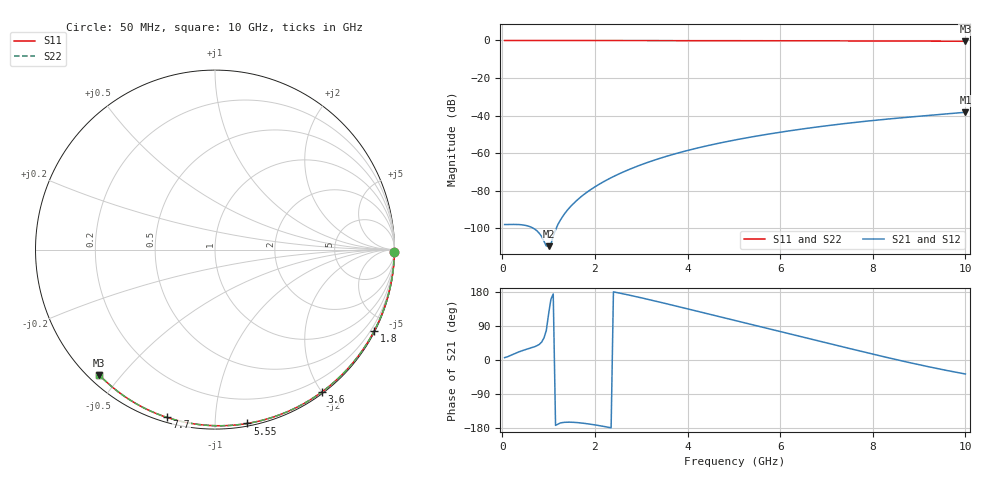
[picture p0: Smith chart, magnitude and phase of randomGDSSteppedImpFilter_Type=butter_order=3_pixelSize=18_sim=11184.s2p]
! freq	dB(S11)	phase(S11)	dB(S12)	phase(S12)
!  dB(S21)	phase(S21)	dB(S22)	phase(S22)
!S-par simulation data
#  GHz  S  DB  R 50
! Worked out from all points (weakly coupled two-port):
!   200 points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, 50 MHz to 10 GHz, reference 50 ohm
!   highest |S21| = -38.28 dB at 10 GHz (marker M1); lowest = -109.6 dB at 1 GHz (marker M2)
!   lowest |S11| = -0.4 dB at 10 GHz (marker M3), VSWR 39.56, Z = 1.51 - j21.9 ohm
!   |S11| at or under -10 dB: nowhere
!   |S22| runs from -0.4 to 0.0 dB; largest |S21 - S12| = 0
!   S11 on the Smith chart (normalised r, x): 50 MHz: open; 1.8 GHz: 0.04, -4.13; 3.6 GHz: 0.02, -2.00; 5.55 GHz: 0.02, -1.20; 7.7 GHz: 0.02, -0.75; 10 GHz: 0.03, -0.44
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0.05  -0.00 -0.8  -98.12 6.2  -98.12 6.2  -0.00 -0.8
0.5  -0.01 -7.7  -98.56 27.4  -98.56 27.4  -0.01 -7.7
1  -0.02 -15.2  -109.64 121.4  -109.64 121.4  -0.02 -15.2
1.75  -0.03 -26.5  -82.33 -166.9  -82.33 -166.9  -0.03 -26.5
1.8  -0.03 -27.2  -81.39 -167.6  -81.39 -167.6  -0.03 -27.2
1.85  -0.04 -28.0  -80.50 -168.5  -80.50 -168.5  -0.04 -28.0
1.9  -0.04 -28.7  -79.64 -169.3  -79.64 -169.3  -0.04 -28.7
2.05  -0.04 -30.9  -77.26 -172.2  -77.26 -172.2  -0.04 -30.9
2.25  -0.04 -33.9  -74.44 -176.6  -74.44 -176.6  -0.04 -33.9
2.65  -0.05 -39.7  -69.69 173.6  -69.69 173.6  -0.05 -39.7
3  -0.06 -44.7  -66.23 164.1  -66.23 164.1  -0.06 -44.7
3.4  -0.07 -50.4  -62.85 152.7  -62.85 152.7  -0.07 -50.4
3.6  -0.07 -53.2  -61.34 146.9  -61.34 146.9  -0.07 -53.2
4.3  -0.09 -62.9  -56.82 126.0  -56.82 126.0  -0.09 -62.9
5.05  -0.11 -72.9  -52.93 103.5  -52.93 103.5  -0.11 -72.9
5.55  -0.13 -79.4  -50.71 88.5  -50.71 88.5  -0.13 -79.4
6.1  -0.15 -86.5  -48.54 72.1  -48.54 72.1  -0.15 -86.5
6.7  -0.18 -93.9  -46.44 54.2  -46.44 54.2  -0.18 -93.9
7.7  -0.24 -106.0  -43.45 24.4  -43.45 24.4  -0.24 -106.0
8.35  -0.29 -113.7  -41.83 5.5  -41.83 5.5  -0.29 -113.7
9.15  -0.36 -123.0  -40.08 -16.4  -40.08 -16.4  -0.36 -123.0
10  -0.44 -132.7  -38.28 -37.0  -38.28 -37.0  -0.44 -132.7
